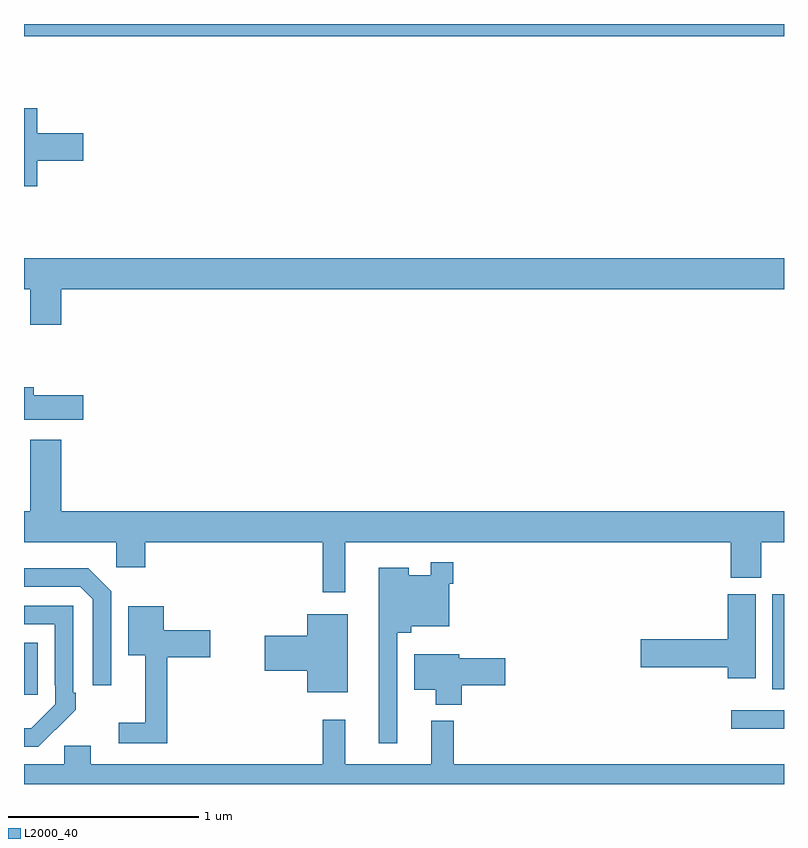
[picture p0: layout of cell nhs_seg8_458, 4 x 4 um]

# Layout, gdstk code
import gdstk
lib = gdstk.Library(unit=1e-6, precision=1e-09)
def R(c, l, rs):  # rectangles x0, y0, x1, y1
    for r in rs: c.add(gdstk.rectangle(r[:2], r[2:], *l))
def P(c, l, *ps):  # polygons
    for p in ps: c.add(gdstk.Polygon(p, *l))
L2000_40 = (2000, 40)

nhs_seg8_458 = lib.new_cell('nhs_seg8_458')
R(nhs_seg8_458, L2000_40, [(144.723,1110.192,145,1110.288), (141,1110.369,141.073,1110.643), (144.938,1110.398,145,1110.898), (141,1113.836,145,1113.9)])
P(nhs_seg8_458, L2000_40, [(141.07,1113.179),(141.313,1113.179),(141.313,1113.326),(141.07,1113.326),(141.07,1113.457),(141,1113.457),(141,1113.047),(141.07,1113.047)],
  [(141,1112.504),(141.032,1112.504),(141.032,1112.316),(141.196,1112.316),(141.196,1112.504),(145,1112.504),(145,1112.668),(141,1112.668)],
  [(141.313,1111.947),(141.052,1111.947),(141.052,1111.988),(141,1111.988),(141,1111.817),(141.313,1111.817)],
  [(142.69,1111.172),(144.719,1111.172),(144.719,1110.985),(144.879,1110.985),(144.879,1111.172),(145,1111.172),(145,1111.336),(141.196,1111.336),(141.196,1111.711),(141.032,1111.711),(141.032,1111.336),(141,1111.336),(141,1111.172),(141.486,1111.172),(141.486,1111.041),(141.638,1111.041),(141.638,1111.172),(142.573,1111.172),(142.573,1110.909),(142.69,1110.909)],
  [(142.965,1110.695),(143.039,1110.695),(143.039,1110.731),(143.238,1110.731),(143.238,1110.953),(143.258,1110.953),(143.258,1111.066),(143.142,1111.066),(143.142,1111),(143.026,1111),(143.026,1111.039),(142.868,1111.039),(142.868,1110.114),(142.965,1110.114)],
  [(141.459,1110.915),(141.338,1111.036),(141,1111.036),(141,1110.939),(141.297,1110.939),(141.363,1110.873),(141.363,1110.42),(141.459,1110.42)],
  [(144.85,1110.9),(144.704,1110.9),(144.704,1110.662),(144.246,1110.662),(144.246,1110.515),(144.704,1110.515),(144.704,1110.456),(144.85,1110.456)],
  [(141.167,1110.187),(141.168,1110.186),(141.273,1110.291),(141.273,1110.379),(141.258,1110.379),(141.258,1110.837),(141,1110.837),(141,1110.741),(141.162,1110.741),(141.162,1110.421),(141.165,1110.421),(141.165,1110.321),(141.037,1110.193),(141,1110.193),(141,1110.096),(141.076,1110.096)],
  [(141.755,1110.566),(141.979,1110.566),(141.979,1110.708),(141.736,1110.708),(141.736,1110.835),(141.548,1110.835),(141.548,1110.578),(141.638,1110.578),(141.638,1110.223),(141.498,1110.223),(141.498,1110.114),(141.755,1110.114)],
  [(142.705,1110.793),(142.49,1110.793),(142.49,1110.68),(142.266,1110.68),(142.266,1110.497),(142.49,1110.497),(142.49,1110.383),(142.705,1110.383)],
  [(143.303,1110.421),(143.533,1110.421),(143.533,1110.563),(143.29,1110.563),(143.29,1110.583),(143.054,1110.583),(143.054,1110.395),(143.168,1110.395),(143.168,1110.317),(143.303,1110.317)],
  [(145,1110.004),(143.261,1110.004),(143.261,1110.232),(143.144,1110.232),(143.144,1110.004),(142.691,1110.004),(142.691,1110.238),(142.573,1110.238),(142.573,1110.004),(141.352,1110.004),(141.352,1110.102),(141.213,1110.102),(141.213,1110.004),(141,1110.004),(141,1109.9),(145,1109.9)])

lib.write_gds('nhs_seg8_458.gds')
